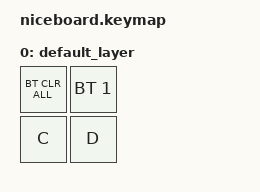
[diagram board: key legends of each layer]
// This file was generated from a template. Edit it to match your keyboard.
// See https://zmk.dev/docs/development/hardware-integration/new-shield for more instructions.

#include <behaviors.dtsi>
#include <dt-bindings/zmk/keys.h>
#include <dt-bindings/zmk/bt.h>

/ {
    // Define a default keymap here.
    // See https://zmk.dev/docs/development/hardware-integration/new-shield#default-keymap.
    keymap {
        compatible = "zmk,keymap";

        default_layer {
            bindings = <
                &bt BT_CLR_ALL &bt BT_SEL 1
                &kp C &kp D
            >;
        };
    };
};
